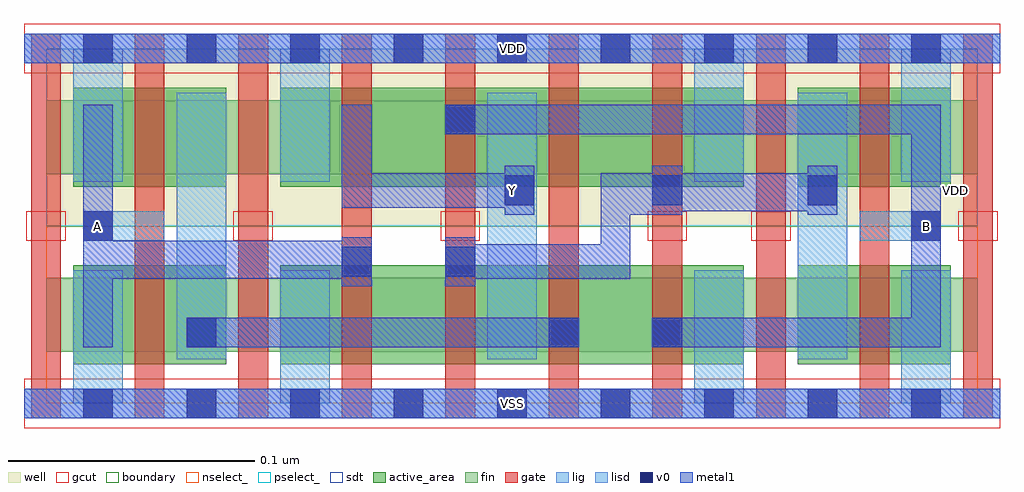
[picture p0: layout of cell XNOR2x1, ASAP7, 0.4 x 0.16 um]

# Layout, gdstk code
import gdstk
lib = gdstk.Library(unit=1e-6, precision=2.5e-10)
def R(c, l, rs):  # rectangles x0, y0, x1, y1
    for r in rs: c.add(gdstk.rectangle(r[:2], r[2:], *l))
def A(c, l, x, y, w, h, nx, ny, dx, dy):  # array of equal rectangles
    R(c, l, [(x+i*dx, y+j*dy, x+i*dx+w, y+j*dy+h) for i in range(nx) for j in range(ny)])
def P(c, l, *ps):  # polygons
    for p in ps: c.add(gdstk.Polygon(p, *l))
well = (1, 0)
fin = (2, 0)
gate = (7, 0)
gcut = (10, 0)
active_area = (11, 0)
nselect_ = (12, 0)
pselect_ = (13, 0)
lig = (16, 0)
lisd = (17, 0)
v0 = (18, 0)
metal1 = (19, 0)
sdt = (88, 0)
boundary = (100, 0)

xnor2x1 = lib.new_cell('XNOR2x1')
R(xnor2x1, well, [(0,0.072,0.378,0.144)])
R(xnor2x1, fin, [(0,0.021,0.378,0.051), (0,0.093,0.378,0.123)])
A(xnor2x1, gate, -0.006, -0.006, 0.012, 0.156, 10, 1, 0.042, 0)
A(xnor2x1, gcut, -0.008, 0.066, 0.016, 0.012, 4, 1, 0.084, 0)
R(xnor2x1, gcut, [(-0.009,-0.01,0.387,0.01), (0.286,0.066,0.302,0.078), (0.37,0.066,0.386,0.078), (-0.009,0.134,0.387,0.154)])
R(xnor2x1, active_area, [(0.011,0.016,0.073,0.056), (0.095,0.016,0.283,0.056), (0.305,0.016,0.367,0.056), (0.011,0.088,0.073,0.128), (0.095,0.088,0.283,0.128), (0.305,0.088,0.367,0.128)])
R(xnor2x1, nselect_, [(0,0,0.378,0.072)])
R(xnor2x1, pselect_, [(0,0.072,0.378,0.144)])
R(xnor2x1, lig, [(-0.009,-0.006,0.387,0.006), (0.204,0.0227,0.216,0.0348), (0.246,0.0227,0.258,0.0348), (0.12,0.0515,0.132,0.0635), (0.162,0.0515,0.174,0.0635), (0.015,0.066,0.048,0.078), (0.33,0.066,0.363,0.078), (0.246,0.0805,0.258,0.0925), (0.162,0.1092,0.174,0.1212), (-0.009,0.138,0.387,0.15)])
A(xnor2x1, lisd, 0.053, 0.018, 0.02, 0.108, 3, 1, 0.126, 0)
R(xnor2x1, lisd, [(0.011,0,0.031,0.054), (0.095,0,0.115,0.054), (0.263,0,0.283,0.054), (0.347,0,0.367,0.054), (0.011,0.09,0.031,0.144), (0.095,0.09,0.115,0.144), (0.263,0.09,0.283,0.144), (0.347,0.09,0.367,0.144)])
A(xnor2x1, v0, 0.015, -0.006, 0.012, 0.012, 9, 2, 0.042, 0.144)
R(xnor2x1, v0, [(0.057,0.0227,0.069,0.0348), (0.204,0.0227,0.216,0.0348), (0.246,0.0227,0.258,0.0348), (0.12,0.0515,0.132,0.0635), (0.162,0.0515,0.174,0.0635), (0.015,0.066,0.027,0.078), (0.351,0.066,0.363,0.078), (0.186,0.0805,0.198,0.0925), (0.246,0.0805,0.258,0.0925), (0.309,0.0805,0.321,0.0925), (0.162,0.1092,0.174,0.1212)])
R(xnor2x1, metal1, [(-0.009,-0.006,0.387,0.006), (0.057,0.0227,0.216,0.0348), (-0.009,0.138,0.387,0.15)])
P(xnor2x1, metal1, [(0.198,0.0965),(0.186,0.0965),(0.186,0.0935),(0.132,0.0935),(0.132,0.1212),(0.12,0.1212),(0.12,0.0795),(0.186,0.0795),(0.186,0.0765),(0.198,0.0765)],
  [(0.027,0.0505),(0.12,0.0505),(0.12,0.0475),(0.132,0.0475),(0.132,0.0675),(0.12,0.0675),(0.12,0.066),(0.027,0.066),(0.027,0.1212),(0.015,0.1212),(0.015,0.0227),(0.027,0.0227)],
  [(0.363,0.1212),(0.162,0.1212),(0.162,0.1092),(0.351,0.1092),(0.351,0.0348),(0.246,0.0348),(0.246,0.0227),(0.363,0.0227)],
  [(0.258,0.0765),(0.258,0.078),(0.309,0.078),(0.309,0.0765),(0.321,0.0765),(0.321,0.0965),(0.309,0.0965),(0.309,0.0935),(0.258,0.0935),(0.258,0.0965),(0.246,0.0965),(0.246,0.0935),(0.225,0.0935),(0.225,0.0645),(0.174,0.0645),(0.174,0.0675),(0.162,0.0675),(0.162,0.0475),(0.174,0.0475),(0.174,0.0505),(0.237,0.0505),(0.237,0.0765)])
A(xnor2x1, sdt, 0.011, 0.021, 0.02, 0.03, 3, 2, 0.042, 0.072)
A(xnor2x1, sdt, 0.263, 0.021, 0.02, 0.03, 3, 2, 0.042, 0.072)
R(xnor2x1, sdt, [(0.179,0.021,0.199,0.051), (0.179,0.093,0.199,0.123)])
R(xnor2x1, boundary, [(0,0,0.378,0.144)])
xnor2x1.add(gdstk.Label('VDD', (0.369,0.0865), layer=1, texttype=251))
xnor2x1.add(gdstk.Label('VSS', (0.427,0.0505), layer=3, texttype=251))
xnor2x1.add(gdstk.Label('VDD', (0.189,0.144), layer=19, texttype=251))
xnor2x1.add(gdstk.Label('VSS', (0.189,0), layer=19, texttype=251))
xnor2x1.add(gdstk.Label('A', (0.021,0.072), layer=19, texttype=251))
xnor2x1.add(gdstk.Label('B', (0.357,0.072), layer=19, texttype=251))
xnor2x1.add(gdstk.Label('Y', (0.189,0.0865), layer=19, texttype=251))

lib.write_gds('XNOR2x1.gds')
